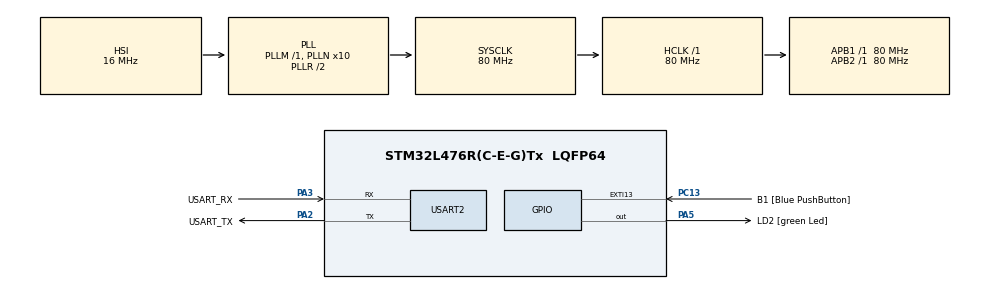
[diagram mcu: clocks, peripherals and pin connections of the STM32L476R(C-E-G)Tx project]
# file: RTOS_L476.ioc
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FREERTOS.Tasks01=defaultTask,0,128,StartDefaultTask,Default,NULL,Dynamic,NULL,NULL
Mcu.Family=STM32L4
Mcu.Name=STM32L476R(C-E-G)Tx
Mcu.Package=LQFP64
NVIC.EXTI15_10_IRQn=true\:5\:0\:false\:false\:true\:true\:true\:true
NVIC.PriorityGroup=NVIC_PRIORITYGROUP_4
NVIC.TIM2_IRQn=true\:0\:0\:false\:false\:true\:false\:false\:true
NVIC.TIM6_DAC_IRQn=true\:5\:0\:false\:false\:true\:true\:true\:true
NVIC.TIM7_IRQn=true\:5\:0\:false\:false\:true\:true\:true\:true
NVIC.TimeBase=TIM2_IRQn
NVIC.TimeBaseIP=TIM2
PA13\ (JTMS-SWDIO).GPIO_Label=TMS
PA13\ (JTMS-SWDIO).Mode=Serial_Wire
PA13\ (JTMS-SWDIO).Signal=SYS_JTMS-SWDIO
PA14\ (JTCK-SWCLK).GPIO_Label=TCK
PA14\ (JTCK-SWCLK).Mode=Serial_Wire
PA14\ (JTCK-SWCLK).Signal=SYS_JTCK-SWCLK
PA2.GPIO_Label=USART_TX
PA2.GPIO_Mode=GPIO_MODE_AF_PP
PA2.GPIO_PuPd=GPIO_NOPULL
PA2.GPIO_Speed=GPIO_SPEED_FREQ_VERY_HIGH
PA2.Mode=Asynchronous
PA2.Signal=USART2_TX
PA3.GPIO_Label=USART_RX
PA3.GPIO_Mode=GPIO_MODE_AF_PP
PA3.GPIO_PuPd=GPIO_NOPULL
PA3.GPIO_Speed=GPIO_SPEED_FREQ_VERY_HIGH
PA3.Mode=Asynchronous
PA3.Signal=USART2_RX
PA5.GPIO_Label=LD2 [green Led]
PA5.GPIO_ModeDefaultOutputPP=GPIO_MODE_OUTPUT_PP
PA5.GPIO_PuPd=GPIO_NOPULL
PA5.GPIO_Speed=GPIO_SPEED_FREQ_LOW
PA5.Signal=GPIO_Output
PB3\ (JTDO-TRACESWO).GPIO_Label=SWO
PB3\ (JTDO-TRACESWO).Signal=SYS_JTDO-SWO
PC13.GPIO_Label=B1 [Blue PushButton]
PC13.GPIO_ModeDefaultEXTI=GPIO_MODE_IT_FALLING
PC13.GPIO_PuPd=GPIO_NOPULL
PC13.Signal=GPXTI13
PC14-OSC32_IN\ (PC14).Mode=LSE-External-Oscillator
PC14-OSC32_IN\ (PC14).Signal=RCC_OSC32_IN
PC15-OSC32_OUT\ (PC15).Mode=LSE-External-Oscillator
PC15-OSC32_OUT\ (PC15).Signal=RCC_OSC32_OUT
PH0-OSC_IN\ (PH0).Signal=RCC_OSC_IN
PH1-OSC_OUT\ (PH1).Signal=RCC_OSC_OUT
ProjectManager.HeapSize=0x200
ProjectManager.StackSize=0x400
ProjectManager.TargetToolchain=MDK-ARM V5.27
RCC.ADCFreq_Value=64000000
RCC.AHBFreq_Value=80000000
RCC.APB1Freq_Value=80000000
RCC.APB1TimFreq_Value=80000000
RCC.APB2Freq_Value=80000000
RCC.APB2TimFreq_Value=80000000
RCC.CortexFreq_Value=80000000
RCC.HCLKFreq_Value=80000000
RCC.HSE_VALUE=8000000
RCC.HSI_VALUE=16000000
RCC.MSI_VALUE=4000000
RCC.PLLN=10
RCC.PLLSourceVirtual=RCC_PLLSOURCE_HSI
RCC.PREFETCH_ENABLE=1
RCC.SYSCLKFreq_VALUE=80000000
RCC.SYSCLKSource=RCC_SYSCLKSOURCE_PLLCLK
RCC.USBFreq_Value=64000000
RCC.VCOOutputFreq_Value=160000000
TIM6.Period=24
TIM6.Prescaler=320
TIM7.Prescaler=100
USART2.VirtualMode-Asynchronous=VM_ASYNC
VP_FREERTOS_VS_CMSIS_V1.Mode=CMSIS_V1
VP_SYS_VS_tim2.Mode=TIM2
VP_TIM6_VS_ClockSourceINT.Mode=Enable_Timer
VP_TIM7_VS_ClockSourceINT.Mode=Enable_Timer
board=NUCLEO-L476RG

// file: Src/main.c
/* USER CODE BEGIN Header */
/**
  ******************************************************************************
  * @file           : main.c
  * @brief          : Main program body
  ******************************************************************************
  * @attention
  *
  * <h2><center>&copy; Copyright (c) 2020 STMicroelectronics.
  * All rights reserved.</center></h2>
  *
  * This software component is licensed by ST under BSD 3-Clause license,
  * the "License"; You may not use this file except in compliance with the
  * License. You may obtain a copy of the License at:
  *                        opensource.org/licenses/BSD-3-Clause
  *
  ******************************************************************************
  */
/* USER CODE END Header */

#include "main.h"
#include "cmsis_os.h"

/* USER CODE BEGIN Includes */

#include <string.h>
#include "lg_airconditioner.h"

/* USER CODE END Includes */

TIM_HandleTypeDef htim6;
TIM_HandleTypeDef htim7;

UART_HandleTypeDef huart2;

osThreadId defaultTaskHandle;

void SystemClock_Config(void);
static void MX_GPIO_Init(void);
static void MX_TIM6_Init(void);
static void MX_TIM7_Init(void);
static void MX_USART2_UART_Init(void);
void StartDefaultTask(void const * argument);

/* USER CODE BEGIN PFP */

// Task Function
void Toggle_LED2(void);
void RTOS_Task1(void);
void Wave_Task(void);
void Uart_Task(void);
void IR_Pulse(char flag);
/* USER CODE END PFP */

/* USER CODE BEGIN 0 */
int Timer_count_6;
LG_AIRCON AirData[2];
int AirFlag = -1;
/* USER CODE END 0 */

int main(void)
{

  /* MCU Configuration--------------------------------------------------------*/

  /* Reset of all peripherals, Initializes the Flash interface and the Systick. */
  HAL_Init();

  /* Configure the system clock */
  SystemClock_Config();

  /* USER CODE BEGIN SysInit */
	AirData_init(AirData);
  /* USER CODE END SysInit */

  /* Initialize all configured peripherals */
  MX_GPIO_Init();
  MX_TIM6_Init();
  MX_TIM7_Init();
  MX_USART2_UART_Init();

  /* Create the thread(s) */
  /* definition and creation of defaultTask */
  osThreadDef(defaultTask, StartDefaultTask, osPriorityNormal, 0, 128);
  defaultTaskHandle = osThreadCreate(osThread(defaultTask), NULL);

  /* USER CODE BEGIN RTOS_THREADS */
	xTaskCreate((TaskFunction_t)RTOS_Task1, "Task 1", configMINIMAL_STACK_SIZE, NULL, 1, NULL);
	xTaskCreate((TaskFunction_t)Wave_Task, "Task 2", configMINIMAL_STACK_SIZE, NULL, 1, NULL);
	xTaskCreate((TaskFunction_t)Uart_Task, "Uart_Task", configMINIMAL_STACK_SIZE, NULL, 1, NULL);

  /* add threads, ... */
  /* USER CODE END RTOS_THREADS */

  /* Start scheduler */
  osKernelStart();

  /* We should never get here as control is now taken by the scheduler */
  /* Infinite loop */
  /* USER CODE BEGIN WHILE */

  while (1)
  {
		//HAL_UART_Transmit(&huart2, TextData, sizeof(TextData), 10);
		//HAL_Delay(49);
    /* USER CODE END WHILE */

  }
}

void SystemClock_Config(void)
{
  RCC_OscInitTypeDef RCC_OscInitStruct = {0};
  RCC_ClkInitTypeDef RCC_ClkInitStruct = {0};
  RCC_PeriphCLKInitTypeDef PeriphClkInit = {0};

  /** Initializes the CPU, AHB and APB busses clocks
  */
  RCC_OscInitStruct.OscillatorType = RCC_OSCILLATORTYPE_HSI;
  RCC_OscInitStruct.HSIState = RCC_HSI_ON;
  RCC_OscInitStruct.HSICalibrationValue = RCC_HSICALIBRATION_DEFAULT;
  RCC_OscInitStruct.PLL.PLLState = RCC_PLL_ON;
  RCC_OscInitStruct.PLL.PLLSource = RCC_PLLSOURCE_HSI;
  RCC_OscInitStruct.PLL.PLLM = 1;
  RCC_OscInitStruct.PLL.PLLN = 10;
  RCC_OscInitStruct.PLL.PLLP = RCC_PLLP_DIV7;
  RCC_OscInitStruct.PLL.PLLQ = RCC_PLLQ_DIV2;
  RCC_OscInitStruct.PLL.PLLR = RCC_PLLR_DIV2;
  if (HAL_RCC_OscConfig(&RCC_OscInitStruct) != HAL_OK)
  {
    Error_Handler();
  }
  /** Initializes the CPU, AHB and APB busses clocks
  */
  RCC_ClkInitStruct.ClockType = RCC_CLOCKTYPE_HCLK|RCC_CLOCKTYPE_SYSCLK
                              |RCC_CLOCKTYPE_PCLK1|RCC_CLOCKTYPE_PCLK2;
  RCC_ClkInitStruct.SYSCLKSource = RCC_SYSCLKSOURCE_PLLCLK;
  RCC_ClkInitStruct.AHBCLKDivider = RCC_SYSCLK_DIV1;
  RCC_ClkInitStruct.APB1CLKDivider = RCC_HCLK_DIV1;
  RCC_ClkInitStruct.APB2CLKDivider = RCC_HCLK_DIV1;

  if (HAL_RCC_ClockConfig(&RCC_ClkInitStruct, FLASH_LATENCY_4) != HAL_OK)
  {
    Error_Handler();
  }
  PeriphClkInit.PeriphClockSelection = RCC_PERIPHCLK_USART2;
  PeriphClkInit.Usart2ClockSelection = RCC_USART2CLKSOURCE_PCLK1;
  if (HAL_RCCEx_PeriphCLKConfig(&PeriphClkInit) != HAL_OK)
  {
    Error_Handler();
  }
  /** Configure the main internal regulator output voltage
  */
  if (HAL_PWREx_ControlVoltageScaling(PWR_REGULATOR_VOLTAGE_SCALE1) != HAL_OK)
  {
    Error_Handler();
  }
}

static void MX_TIM6_Init(void)
{

  TIM_MasterConfigTypeDef sMasterConfig = {0};

  htim6.Instance = TIM6;
  htim6.Init.Prescaler = 320;
  htim6.Init.CounterMode = TIM_COUNTERMODE_UP;
  htim6.Init.Period = 24;
  htim6.Init.AutoReloadPreload = TIM_AUTORELOAD_PRELOAD_DISABLE;
  if (HAL_TIM_Base_Init(&htim6) != HAL_OK)
  {
    Error_Handler();
  }
  sMasterConfig.MasterOutputTrigger = TIM_TRGO_RESET;
  sMasterConfig.MasterSlaveMode = TIM_MASTERSLAVEMODE_DISABLE;
  if (HAL_TIMEx_MasterConfigSynchronization(&htim6, &sMasterConfig) != HAL_OK)
  {
    Error_Handler();
  }

}

static void MX_TIM7_Init(void)
{

  TIM_MasterConfigTypeDef sMasterConfig = {0};

  htim7.Instance = TIM7;
  htim7.Init.Prescaler = 100;
  htim7.Init.CounterMode = TIM_COUNTERMODE_UP;
  htim7.Init.Period = 0;
  htim7.Init.AutoReloadPreload = TIM_AUTORELOAD_PRELOAD_DISABLE;
  if (HAL_TIM_Base_Init(&htim7) != HAL_OK)
  {
    Error_Handler();
  }
  sMasterConfig.MasterOutputTrigger = TIM_TRGO_RESET;
  sMasterConfig.MasterSlaveMode = TIM_MASTERSLAVEMODE_DISABLE;
  if (HAL_TIMEx_MasterConfigSynchronization(&htim7, &sMasterConfig) != HAL_OK)
  {
    Error_Handler();
  }

}

static void MX_USART2_UART_Init(void)
{

  huart2.Instance = USART2;
  huart2.Init.BaudRate = 115200;
  huart2.Init.WordLength = UART_WORDLENGTH_8B;
  huart2.Init.StopBits = UART_STOPBITS_1;
  huart2.Init.Parity = UART_PARITY_NONE;
  huart2.Init.Mode = UART_MODE_TX_RX;
  huart2.Init.HwFlowCtl = UART_HWCONTROL_NONE;
  huart2.Init.OverSampling = UART_OVERSAMPLING_16;
  huart2.Init.OneBitSampling = UART_ONE_BIT_SAMPLE_DISABLE;
  huart2.AdvancedInit.AdvFeatureInit = UART_ADVFEATURE_NO_INIT;
  if (HAL_UART_Init(&huart2) != HAL_OK)
  {
    Error_Handler();
  }

}

static void MX_GPIO_Init(void)
{
  GPIO_InitTypeDef GPIO_InitStruct = {0};

  /* GPIO Ports Clock Enable */
  __HAL_RCC_GPIOC_CLK_ENABLE();
  __HAL_RCC_GPIOH_CLK_ENABLE();
  __HAL_RCC_GPIOA_CLK_ENABLE();
  __HAL_RCC_GPIOB_CLK_ENABLE();

  /*Configure GPIO pin Output Level */
  HAL_GPIO_WritePin(LD2_GPIO_Port, LD2_Pin, GPIO_PIN_RESET);

  /*Configure GPIO pin : B1_Pin */
  GPIO_InitStruct.Pin = B1_Pin;
  GPIO_InitStruct.Mode = GPIO_MODE_IT_FALLING;
  GPIO_InitStruct.Pull = GPIO_NOPULL;
  HAL_GPIO_Init(B1_GPIO_Port, &GPIO_InitStruct);

  /*Configure GPIO pin : LD2_Pin */
  GPIO_InitStruct.Pin = LD2_Pin;
  GPIO_InitStruct.Mode = GPIO_MODE_OUTPUT_PP;
  GPIO_InitStruct.Pull = GPIO_NOPULL;
  GPIO_InitStruct.Speed = GPIO_SPEED_FREQ_LOW;
  HAL_GPIO_Init(LD2_GPIO_Port, &GPIO_InitStruct);

  /* EXTI interrupt init*/
  HAL_NVIC_SetPriority(EXTI15_10_IRQn, 5, 0);
  HAL_NVIC_EnableIRQ(EXTI15_10_IRQn);

}

/* USER CODE BEGIN 4 */
void Toggle_LED2(void){
	HAL_GPIO_TogglePin(GPIOA, GPIO_PIN_5);
}

void RTOS_Task1(void){

	while(1){
		osDelay(499);
	}
}

void Wave_Task(void){

	int i;

	HAL_GPIO_WritePin(GPIOA, GPIO_PIN_5, GPIO_PIN_SET);
	while(1){
		if(AirFlag != -1){
			HAL_TIM_Base_Start_IT(&htim6);
			Timer_count_6 = 0;

			//Header Pulse
			IR_Pulse(1);
			while(Timer_count_6 < 800);
			IR_Pulse(0);

			HAL_GPIO_WritePin(GPIOA, GPIO_PIN_5, GPIO_PIN_RESET);
			while(Timer_count_6 < 1200);

			while(i < 28){ // data packet
				Timer_count_6 = 0;

				IR_Pulse(1);
				while(Timer_count_6 < 60);
				IR_Pulse(0);

				HAL_GPIO_WritePin(GPIOA, GPIO_PIN_5, GPIO_PIN_RESET);
				if(AirData[AirFlag].all & (1 << (27 - i))){ // littel -> big Endian
					while(Timer_count_6 < 115);
				}
				else{
					while(Timer_count_6 < 220);
				}

				i++;
			}

			HAL_TIM_Base_Stop_IT(&htim6);
			AirFlag = -1;
		}
	}
}

void Uart_Task(void){

	char RxBuffer;
	char Buffer[128];
	int index = 0;

	while(1){
		HAL_UART_Receive(&huart2, (uint8_t*)&RxBuffer, 1, 10);

		if(index >= 127){
			goto show_text;
		}

		if(RxBuffer == '\r' || RxBuffer == '\n'){
			show_text:

			HAL_UART_Transmit(&huart2, (uint8_t*)"\r\n", 2, 10);
			Buffer[index++] = '\r';
			Buffer[index++] = '\n';
			HAL_UART_Transmit(&huart2, (uint8_t*)Buffer, index, 10);

			if(!strncmp(Buffer, "LD2", 3)){
				Toggle_LED2();
			}

			if(!strncmp(Buffer, "AIR_OFF", 7)){
				AirFlag = 0;
			}

			if(!strncmp(Buffer, "AIR_ON", 6)){
				AirFlag = 1;
			}

			index = 0;
			goto Rx_Fin;
		}

		if(RxBuffer != NULL){
			HAL_UART_Transmit(&huart2, (uint8_t*)&RxBuffer, 1, 10);
			Buffer[index++] = RxBuffer;
		}

		Rx_Fin:
		RxBuffer = NULL;
		osDelay(1);
	}
}

void IR_Pulse(char flag){
	if(!flag){
		HAL_TIM_Base_Start_IT(&htim7);
	}
	else{
		HAL_TIM_Base_Stop_IT(&htim7);
	}
}
/* USER CODE END 4 */

void StartDefaultTask(void const * argument)
{
  for(;;)
  {
    osDelay(1);
  }
}

 /**
  * @brief  Period elapsed callback in non blocking mode
  * @note   This function is called  when TIM2 interrupt took place, inside
  * HAL_TIM_IRQHandler(). It makes a direct call to HAL_IncTick() to increment
  * a global variable "uwTick" used as application time base.
  * @param  htim : TIM handle
  * @retval None
  */
void HAL_TIM_PeriodElapsedCallback(TIM_HandleTypeDef *htim)
{
  if (htim->Instance == TIM2) {
    HAL_IncTick();
  }
  /* USER CODE BEGIN Callback 1 */
	if(htim -> Instance == TIM6)
	 {
				Timer_count_6++;
	 }

	 if(htim -> Instance == TIM7)
	 {
		 	HAL_GPIO_TogglePin(GPIOA, GPIO_PIN_5);
	 }
  /* USER CODE END Callback 1 */
}

void Error_Handler(void)
{
}

/************************ (C) COPYRIGHT STMicroelectronics *****END OF FILE****/
